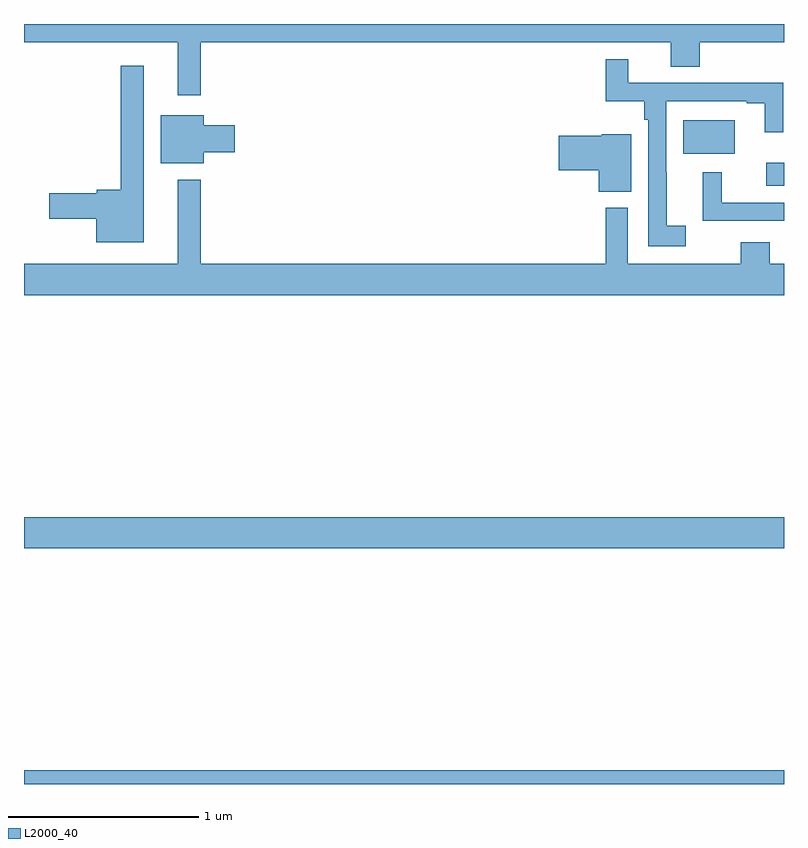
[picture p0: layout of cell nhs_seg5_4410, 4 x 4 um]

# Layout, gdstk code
import gdstk
lib = gdstk.Library(unit=1e-6, precision=1e-09)
def R(c, l, rs):  # rectangles x0, y0, x1, y1
    for r in rs: c.add(gdstk.rectangle(r[:2], r[2:], *l))
def P(c, l, *ps):  # polygons
    for p in ps: c.add(gdstk.Polygon(p, *l))
L2000_40 = (2000, 40)

nhs_seg5_4410 = lib.new_cell('nhs_seg5_4410')
R(nhs_seg5_4410, L2000_40, [(369,908.799,373,908.872), (369,910.04,373,910.204), (372.906,911.948,373,912.07), (372.47,912.116,372.742,912.292)])
P(nhs_seg5_4410, L2000_40, [(369.931,912.704),(372.404,912.704),(372.404,912.574),(372.557,912.574),(372.557,912.704),(373,912.704),(373,912.799),(369,912.799),(369,912.704),(369.809,912.704),(369.809,912.423),(369.931,912.423)],
  [(372.484,911.737),(372.383,911.737),(372.383,912.02),(372.381,912.02),(372.381,912.393),(372.803,912.393),(372.803,912.381),(372.899,912.381),(372.899,912.228),(372.996,912.228),(372.996,912.491),(372.64,912.491),(372.64,912.489),(372.378,912.489),(372.378,912.491),(372.18,912.491),(372.18,912.613),(372.061,912.613),(372.061,912.392),(372.265,912.392),(372.265,912.296),(372.285,912.296),(372.285,911.628),(372.484,911.628)],
  [(369.631,912.58),(369.51,912.58),(369.51,911.927),(369.384,911.927),(369.384,911.909),(369.132,911.909),(369.132,911.774),(369.38,911.774),(369.38,911.651),(369.631,911.651)],
  [(369.946,912.125),(370.108,912.125),(370.108,912.267),(369.946,912.267),(369.946,912.319),(369.719,912.319),(369.719,912.065),(369.946,912.065)],
  [(372.196,912.22),(372.042,912.22),(372.042,912.212),(371.814,912.212),(371.814,912.029),(372.026,912.029),(372.026,911.917),(372.196,911.917)],
  [(373,911.859),(372.672,911.859),(372.672,912.019),(372.572,912.019),(372.572,911.763),(373,911.763)],
  [(373,911.536),(372.926,911.536),(372.926,911.65),(372.773,911.65),(372.773,911.536),(372.177,911.536),(372.177,911.832),(372.061,911.832),(372.061,911.536),(369.931,911.536),(369.931,911.98),(369.809,911.98),(369.809,911.536),(369,911.536),(369,911.372),(373,911.372)])

lib.write_gds('nhs_seg5_4410.gds')
